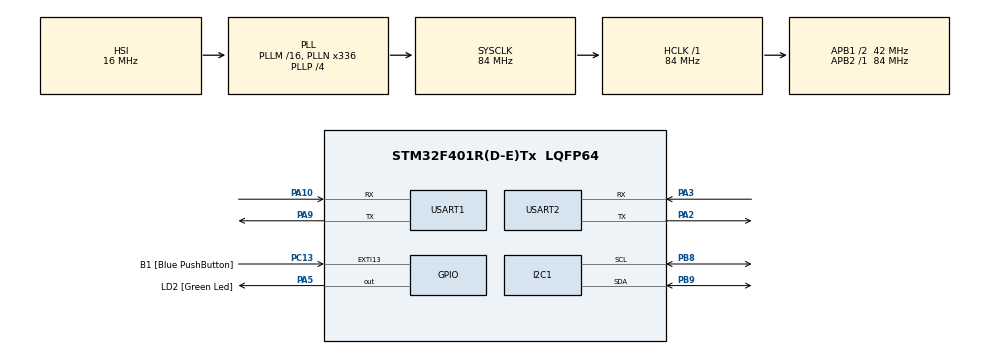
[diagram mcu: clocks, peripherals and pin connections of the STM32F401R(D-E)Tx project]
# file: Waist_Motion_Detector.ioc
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I2C1.I2C_Mode=I2C_Standard
Mcu.Family=STM32F4
Mcu.Name=STM32F401R(D-E)Tx
Mcu.Package=LQFP64
NVIC.I2C1_ER_IRQn=true\:0\:0\:false\:false\:true\:true\:true\:true
NVIC.I2C1_EV_IRQn=true\:0\:0\:false\:false\:true\:true\:true\:true
NVIC.PriorityGroup=NVIC_PRIORITYGROUP_0
PA10.Mode=Asynchronous
PA10.Signal=USART1_RX
PA2.Mode=Asynchronous
PA2.Signal=USART2_TX
PA3.Mode=Asynchronous
PA3.Signal=USART2_RX
PA5.GPIO_Label=LD2 [Green Led]
PA5.GPIO_Mode=GPIO_MODE_OUTPUT_PP
PA5.GPIO_PuPd=GPIO_NOPULL
PA5.GPIO_Speed=GPIO_SPEED_FREQ_LOW
PA5.Signal=GPIO_Output
PA9.Mode=Asynchronous
PA9.Signal=USART1_TX
PB3.GPIO_Label=SWO
PB3.Signal=SYS_JTDO-SWO
PB8.Mode=I2C
PB8.Signal=I2C1_SCL
PB9.Mode=I2C
PB9.Signal=I2C1_SDA
PC13-ANTI_TAMP.GPIO_Label=B1 [Blue PushButton]
PC13-ANTI_TAMP.GPIO_ModeDefaultEXTI=GPIO_MODE_IT_FALLING
PC13-ANTI_TAMP.GPIO_PuPd=GPIO_NOPULL
PC13-ANTI_TAMP.Signal=GPXTI13
PC14-OSC32_IN.Mode=LSE-External-Oscillator
PC14-OSC32_IN.Signal=RCC_OSC32_IN
PC15-OSC32_OUT.Mode=LSE-External-Oscillator
PC15-OSC32_OUT.Signal=RCC_OSC32_OUT
PH0\ -\ OSC_IN.Mode=HSE-External-Clock-Source
PH0\ -\ OSC_IN.Signal=RCC_OSC_IN
PH1\ -\ OSC_OUT.Mode=HSE-External-Clock-Source
PH1\ -\ OSC_OUT.Signal=RCC_OSC_OUT
ProjectManager.HeapSize=0x200
ProjectManager.StackSize=0x400
ProjectManager.TargetToolchain=STM32CubeIDE
RCC.48MHZClocksFreq_Value=48000000
RCC.AHBFreq_Value=84000000
RCC.APB1CLKDivider=RCC_HCLK_DIV2
RCC.APB1Freq_Value=42000000
RCC.APB1TimFreq_Value=84000000
RCC.APB2Freq_Value=84000000
RCC.APB2TimFreq_Value=84000000
RCC.CortexFreq_Value=84000000
RCC.HCLKFreq_Value=84000000
RCC.HSE_VALUE=8000000
RCC.HSI_VALUE=16000000
RCC.PLLN=336
RCC.PLLP=RCC_PLLP_DIV4
RCC.PLLQ=7
RCC.SYSCLKFreq_VALUE=84000000
RCC.SYSCLKSource=RCC_SYSCLKSOURCE_PLLCLK
RCC.VCOOutputFreq_Value=336000000
USART1.VirtualMode=VM_ASYNC
USART2.VirtualMode=VM_ASYNC
board=NUCLEO-F401RE

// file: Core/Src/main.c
/* USER CODE BEGIN Header */
/**
  ******************************************************************************
  * @file           : main.c
  * @brief          : Main program body
  ******************************************************************************
  * @attention
  *
  * Copyright (c) 2023 STMicroelectronics.
  * All rights reserved.
  *
  * This software is licensed under terms that can be found in the LICENSE file
  * in the root directory of this software component.
  * If no LICENSE file comes with this software, it is provided AS-IS.
  *
  ******************************************************************************
  */
/* USER CODE END Header */
#include "stm32f4xx_hal.h"

/* USER CODE BEGIN Includes */
#include <string.h>
#include <stdio.h>
#include "mpu6050.h"

/* USER CODE END Includes */

int16_t acc_x, acc_y, acc_z,gyr_x, gyr_y,gyr_z;
float ax,ay,az,gx,gy,gz,temperature, roll,pitch;
uint8_t buffer[128];

I2C_HandleTypeDef hi2c1;

UART_HandleTypeDef huart1;
UART_HandleTypeDef huart2;

void SystemClock_Config(void);
static void MX_GPIO_Init(void);
static void MX_I2C1_Init(void);
static void MX_USART1_UART_Init(void);
static void MX_USART2_UART_Init(void);

/* USER CODE BEGIN 0 */
void UART1_SendString(char *s){
	HAL_UART_Transmit(&huart1, (uint8_t *)s, strlen(s) , 1000);
}
/* USER CODE END 0 */

int main(void)
{

  /* MCU Configuration--------------------------------------------------------*/

  /* Reset of all peripherals, Initializes the Flash interface and the Systick. */
  HAL_Init(); //Initializing the I2C and UART all code which are needed for HAL lang

  /* Configure the system clock */
  SystemClock_Config();

  /* Initialize all configured peripherals */
  MX_GPIO_Init();
  MX_I2C1_Init();
  MX_USART1_UART_Init();
  MX_USART2_UART_Init();
  /* USER CODE BEGIN 2 */

  MPU6050_Init(&hi2c1); //Initializing the I2C1 connection with I2C1

  MPU6050_SetInterruptMode(MPU6050_INTMODE_ACTIVEHIGH);
  MPU6050_SetInterruptDrive(MPU6050_INTDRV_PUSHPULL);
  MPU6050_SetInterruptLatch(MPU6050_INTLATCH_WAITCLEAR);
  MPU6050_SetInterruptLatchClear(MPU6050_INTCLEAR_STATUSREAD);

  MPU6050_SetIntEnableRegister(0); //Disable all interrupts

  //Enable Motion Interrupts

  MPU6050_SetIntEnableRegister(0); //Disable all Interrupts

  //Enable Motion Interrupts

  MPU6050_SetDHPFMode(MPU6050_DHPF_5);

  MPU6050_SetIntMotionEnabled(1);
  MPU6050_SetIntZeroMotionEnabled(1);
  MPU6050_SetIntFreeFallEnabled(1);

  MPU6050_SetFreeFallDetectionDuration(2);
  MPU6050_SetFreeFallDetectionThreshold(2);

  MPU6050_SetMotionDetectionDuration(5);
  MPU6050_SetMotionDetectionThreshold(5);

  MPU6050_SetZeroMotionDetectionDuration(2);
  MPU6050_SetZeroMotionDetectionThreshold(4);

  /* USER CODE END 2 */

  /* Infinite loop */
  while (1)
  {

    /* USER CODE BEGIN 3 */

	  /*
	   *
	   * For getting the acceleration of the body
	   * so for calculating the acceleration and gyroparameter
	   *
	   * we will Use the API :
	   * MPU6050_GetAccelerometerScaled(&ax,&ay,&az);
	   *  MPU6050_GetGyroscopeScaled(&gx, &gy, &gz);
	   */
	  MPU6050_GetAccelerometerScaled(&ax, &ay, &az);
	  MPU6050_GetGyroscopeScaled(&gx, &gy, &gz);
	 // Here we are getting the acceleration and gyro parameter

	  sprintf((char*)buffer, "ACC: X: %0.2f Y: %0.2f Z: %0.2f \n\r GYR: X:%0.2f Y: %0.2f Z:%0.2f \n\r",ax,ay,az,gx,gy,gz); // @suppress("Float formatting support")
	  memset(buffer,0,128);
	  UART1_SendString((char*)buffer);
	  /*
	   * Better option is that we take the roll and pitch of the movement and if
	   * we get any kind of roll or pitch then we can say object is in movement
	   *
	   *
	   * so for calculating the roll and pitch
	   * we will Use the API :
	   * MPU6050_GetRollPitch(&roll,&pitch);
	   */

	  MPU6050_GetRollPitch(&roll, &pitch);

	  if(roll >0  || pitch > 0 ){
		  sprintf((char*)buffer,"The body is moving Person is in walking position");
		  printf("The body is moving person is in standing position");

	  }
     if(ax > 0 && ay>0 ){ //Here we can check the position with movement
    	 sprintf((char*)buffer,"person is in standing position");
    	 printf("person is in standing position");
     }

     if(ax ==0 && az == 0 && ay ==0){ //Here we are checking that person is in still position
    	 sprintf((char*)buffer,"Person is not moving might be in seat position");
    	 printf("Person is not moving might be in seat position");
     }
     /*
      * Further we will move for the angle of the user by using arc tangent
      * we will calculate the acceleration and with using mathematics we will calculate the angle by making tangent
      * if Ax >= 45Deg and Ay >= 45Deg then we can say the angle is moving
      * upward
      *
      */
     memset(buffer,0 ,128);
      UART1_SendString((char*)buffer);

      HAL_Delay(100);
  }
  /* USER CODE END 3 */
}

void SystemClock_Config(void)
{
  RCC_OscInitTypeDef RCC_OscInitStruct = {0};
  RCC_ClkInitTypeDef RCC_ClkInitStruct = {0};

  /** Configure the main internal regulator output voltage
  */
  __HAL_RCC_PWR_CLK_ENABLE();
  __HAL_PWR_VOLTAGESCALING_CONFIG(PWR_REGULATOR_VOLTAGE_SCALE2);

  /** Initializes the RCC Oscillators according to the specified parameters
  * in the RCC_OscInitTypeDef structure.
  */
  RCC_OscInitStruct.OscillatorType = RCC_OSCILLATORTYPE_HSI;
  RCC_OscInitStruct.HSIState = RCC_HSI_ON;
  RCC_OscInitStruct.HSICalibrationValue = RCC_HSICALIBRATION_DEFAULT;
  RCC_OscInitStruct.PLL.PLLState = RCC_PLL_ON;
  RCC_OscInitStruct.PLL.PLLSource = RCC_PLLSOURCE_HSI;
  RCC_OscInitStruct.PLL.PLLM = 16;
  RCC_OscInitStruct.PLL.PLLN = 336;
  RCC_OscInitStruct.PLL.PLLP = RCC_PLLP_DIV4;
  RCC_OscInitStruct.PLL.PLLQ = 7;
  if (HAL_RCC_OscConfig(&RCC_OscInitStruct) != HAL_OK)
  {
    Error_Handler();
  }

  /** Initializes the CPU, AHB and APB buses clocks
  */
  RCC_ClkInitStruct.ClockType = RCC_CLOCKTYPE_HCLK|RCC_CLOCKTYPE_SYSCLK
                              |RCC_CLOCKTYPE_PCLK1|RCC_CLOCKTYPE_PCLK2;
  RCC_ClkInitStruct.SYSCLKSource = RCC_SYSCLKSOURCE_PLLCLK;
  RCC_ClkInitStruct.AHBCLKDivider = RCC_SYSCLK_DIV1;
  RCC_ClkInitStruct.APB1CLKDivider = RCC_HCLK_DIV2;
  RCC_ClkInitStruct.APB2CLKDivider = RCC_HCLK_DIV1;

  if (HAL_RCC_ClockConfig(&RCC_ClkInitStruct, FLASH_LATENCY_2) != HAL_OK)
  {
    Error_Handler();
  }
}

static void MX_I2C1_Init(void)
{

  hi2c1.Instance = I2C1;
  hi2c1.Init.ClockSpeed = 100000;
  hi2c1.Init.DutyCycle = I2C_DUTYCYCLE_2;
  hi2c1.Init.OwnAddress1 = 0;
  hi2c1.Init.AddressingMode = I2C_ADDRESSINGMODE_7BIT;
  hi2c1.Init.DualAddressMode = I2C_DUALADDRESS_DISABLE;
  hi2c1.Init.OwnAddress2 = 0;
  hi2c1.Init.GeneralCallMode = I2C_GENERALCALL_DISABLE;
  hi2c1.Init.NoStretchMode = I2C_NOSTRETCH_DISABLE;
  if (HAL_I2C_Init(&hi2c1) != HAL_OK)
  {
    Error_Handler();
  }

}

static void MX_USART1_UART_Init(void)
{

  huart1.Instance = USART1;
  huart1.Init.BaudRate = 115200;
  huart1.Init.WordLength = UART_WORDLENGTH_8B;
  huart1.Init.StopBits = UART_STOPBITS_1;
  huart1.Init.Parity = UART_PARITY_NONE;
  huart1.Init.Mode = UART_MODE_TX_RX;
  huart1.Init.HwFlowCtl = UART_HWCONTROL_NONE;
  huart1.Init.OverSampling = UART_OVERSAMPLING_16;
  if (HAL_UART_Init(&huart1) != HAL_OK)
  {
    Error_Handler();
  }

}

static void MX_USART2_UART_Init(void)
{

  huart2.Instance = USART2;
  huart2.Init.BaudRate = 115200;
  huart2.Init.WordLength = UART_WORDLENGTH_8B;
  huart2.Init.StopBits = UART_STOPBITS_1;
  huart2.Init.Parity = UART_PARITY_NONE;
  huart2.Init.Mode = UART_MODE_TX_RX;
  huart2.Init.HwFlowCtl = UART_HWCONTROL_NONE;
  huart2.Init.OverSampling = UART_OVERSAMPLING_16;
  if (HAL_UART_Init(&huart2) != HAL_OK)
  {
    Error_Handler();
  }

}

static void MX_GPIO_Init(void)
{
  GPIO_InitTypeDef GPIO_InitStruct = {0};

  /* GPIO Ports Clock Enable */
  __HAL_RCC_GPIOC_CLK_ENABLE();
  __HAL_RCC_GPIOH_CLK_ENABLE();
  __HAL_RCC_GPIOA_CLK_ENABLE();
  __HAL_RCC_GPIOB_CLK_ENABLE();

  /*Configure GPIO pin Output Level */
  HAL_GPIO_WritePin(GPIOA, GPIO_PIN_5, GPIO_PIN_SET);

  /*Configure GPIO pin : Enabling the LED just for checking purpose */
  GPIO_InitStruct.Pin = GPIO_PIN_5;
  GPIO_InitStruct.Mode = GPIO_MODE_OUTPUT_PP;
  GPIO_InitStruct.Pull = GPIO_NOPULL;
  GPIO_InitStruct.Speed = GPIO_SPEED_FREQ_LOW;
  HAL_GPIO_Init(GPIOA, &GPIO_InitStruct);

}

void Error_Handler(void)
{
  /* USER CODE BEGIN Error_Handler_Debug */
  /* User can add his own implementation to report the HAL error return state */
  __disable_irq();
  while (1)
  {
	  printf("Error Occured at some part of HAL_ERROR Handler");
  }
  /* USER CODE END Error_Handler_Debug */
}
